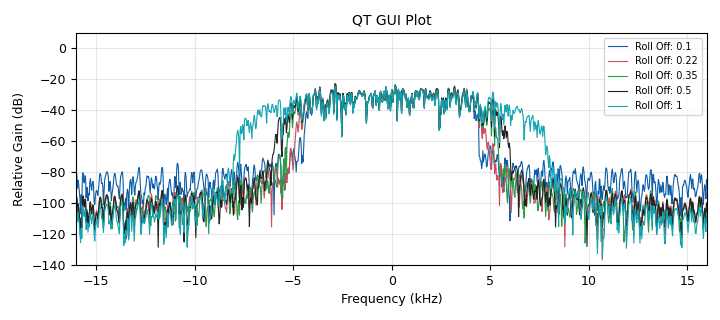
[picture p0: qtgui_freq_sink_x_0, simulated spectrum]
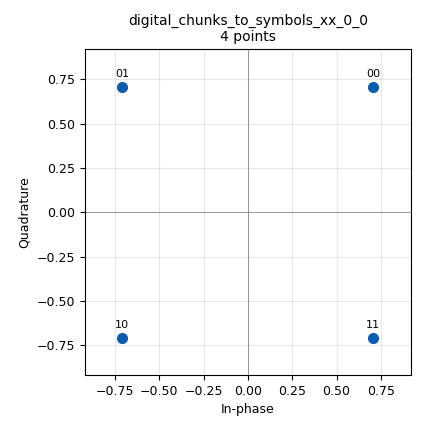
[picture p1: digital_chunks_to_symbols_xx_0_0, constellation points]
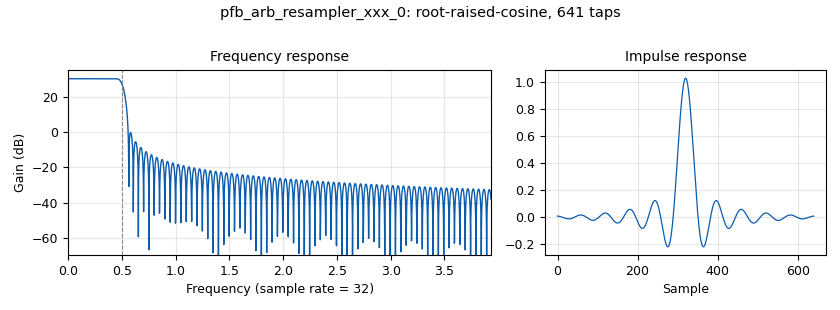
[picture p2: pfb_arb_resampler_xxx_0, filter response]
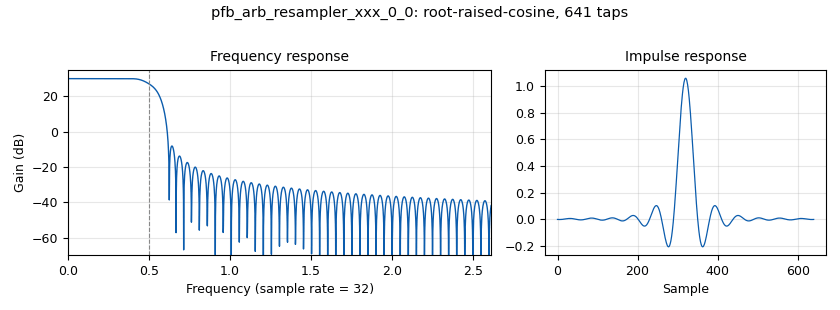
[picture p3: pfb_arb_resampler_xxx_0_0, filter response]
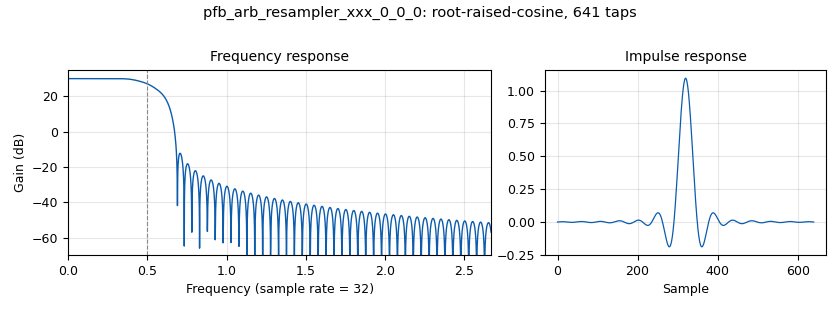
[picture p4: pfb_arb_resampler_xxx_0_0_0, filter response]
<?xml version='1.0' encoding='utf-8'?>
<?grc format='1' created='3.7.13'?>
<flow_graph>
<block>
<key>options</key>
<param><key>id</key><value>roll_off</value></param>
<param><key>author</key><value>Andre Silva</value></param>
<param><key>generate_options</key><value>qt_gui</value></param>
<param><key>title</key><value>roll_off _factor</value></param>
</block>
<block>
<key>variable</key>
<param><key>id</key><value>filt_delay</value></param>
<param><key>value</key><value>1+(taps_per_filt-1)/2</value></param>
</block>
<block>
<key>variable</key>
<param><key>id</key><value>nfilts</value></param>
<param><key>value</key><value>32</value></param>
</block>
<block>
<key>variable_constellation_rect</key>
<param><key>id</key><value>pld_const</value></param>
<param><key>const_points</key><value>[0.707+0.707j, -0.707+0.707j, -0.707-0.707j, 0.707-0.707j]</value></param>
<param><key>imag_sect</key><value>2</value></param>
<param><key>real_sect</key><value>2</value></param>
<param><key>rot_sym</key><value>4</value></param>
<param><key>soft_dec_lut</key><value>'auto'</value></param>
<param><key>sym_map</key><value>[0, 1, 2, 3]</value></param>
<param><key>w_imag_sect</key><value>1</value></param>
<param><key>w_real_sect</key><value>1</value></param>
</block>
<block>
<key>variable</key>
<param><key>id</key><value>samp_rate</value></param>
<param><key>value</key><value>32000</value></param>
</block>
<block>
<key>variable</key>
<param><key>id</key><value>sps</value></param>
<param><key>value</key><value>4</value></param>
</block>
<block>
<key>variable</key>
<param><key>id</key><value>taps_per_filt</value></param>
<param><key>value</key><value>len(tx_rrc_taps)/nfilts</value></param>
</block>
<block>
<key>variable_rrc_filter_taps</key>
<param><key>id</key><value>tx_rrc_taps</value></param>
<param><key>alpha</key><value>0.1</value></param>
<param><key>gain</key><value>nfilts</value></param>
<param><key>ntaps</key><value>5*sps*nfilts</value></param>
<param><key>samp_rate</key><value>nfilts</value></param>
<param><key>sym_rate</key><value>1.0</value></param>
</block>
<block>
<key>variable_rrc_filter_taps</key>
<param><key>id</key><value>tx_rrc_taps_0</value></param>
<param><key>alpha</key><value>0.22</value></param>
<param><key>gain</key><value>nfilts</value></param>
<param><key>ntaps</key><value>5*sps*nfilts</value></param>
<param><key>samp_rate</key><value>nfilts</value></param>
<param><key>sym_rate</key><value>1.0</value></param>
</block>
<block>
<key>variable_rrc_filter_taps</key>
<param><key>id</key><value>tx_rrc_taps_0_0</value></param>
<param><key>alpha</key><value>0.350</value></param>
<param><key>gain</key><value>nfilts</value></param>
<param><key>ntaps</key><value>5*sps*nfilts</value></param>
<param><key>samp_rate</key><value>nfilts</value></param>
<param><key>sym_rate</key><value>1.0</value></param>
</block>
<block>
<key>variable_rrc_filter_taps</key>
<param><key>id</key><value>tx_rrc_taps_0_0_0</value></param>
<param><key>alpha</key><value>0.500</value></param>
<param><key>gain</key><value>nfilts</value></param>
<param><key>ntaps</key><value>5*sps*nfilts</value></param>
<param><key>samp_rate</key><value>nfilts</value></param>
<param><key>sym_rate</key><value>1.0</value></param>
</block>
<block>
<key>variable_rrc_filter_taps</key>
<param><key>id</key><value>tx_rrc_taps_0_0_0_0</value></param>
<param><key>alpha</key><value>1</value></param>
<param><key>gain</key><value>nfilts</value></param>
<param><key>ntaps</key><value>5*sps*nfilts</value></param>
<param><key>samp_rate</key><value>nfilts</value></param>
<param><key>sym_rate</key><value>1.0</value></param>
</block>
<block>
<key>analog_random_source_x</key>
<param><key>id</key><value>analog_random_source_x_0</value></param>
<param><key>max</key><value>255</value></param>
<param><key>min</key><value>0</value></param>
<param><key>num_samps</key><value>1000</value></param>
<param><key>type</key><value>byte</value></param>
<param><key>repeat</key><value>True</value></param>
</block>
<block>
<key>blocks_repack_bits_bb</key>
<param><key>id</key><value>blocks_repack_bits_bb_1_0_0_1</value></param>
<param><key>k</key><value>8</value></param>
<param><key>l</key><value>pld_const.bits_per_symbol()</value></param>
<param><key>endianness</key><value>gr.GR_MSB_FIRST</value></param>
<param><key>len_tag_key</key><value></value></param>
</block>
<block>
<key>blocks_repack_bits_bb</key>
<param><key>id</key><value>blocks_repack_bits_bb_1_0_0_1_0</value></param>
<param><key>k</key><value>8</value></param>
<param><key>l</key><value>pld_const.bits_per_symbol()</value></param>
<param><key>endianness</key><value>gr.GR_MSB_FIRST</value></param>
<param><key>len_tag_key</key><value></value></param>
</block>
<block>
<key>blocks_repack_bits_bb</key>
<param><key>id</key><value>blocks_repack_bits_bb_1_0_0_1_0_0</value></param>
<param><key>k</key><value>8</value></param>
<param><key>l</key><value>pld_const.bits_per_symbol()</value></param>
<param><key>endianness</key><value>gr.GR_MSB_FIRST</value></param>
<param><key>len_tag_key</key><value></value></param>
</block>
<block>
<key>blocks_repack_bits_bb</key>
<param><key>id</key><value>blocks_repack_bits_bb_1_0_0_1_0_0_0</value></param>
<param><key>k</key><value>8</value></param>
<param><key>l</key><value>pld_const.bits_per_symbol()</value></param>
<param><key>endianness</key><value>gr.GR_MSB_FIRST</value></param>
<param><key>len_tag_key</key><value></value></param>
</block>
<block>
<key>blocks_repack_bits_bb</key>
<param><key>id</key><value>blocks_repack_bits_bb_1_0_0_1_0_0_0_0</value></param>
<param><key>k</key><value>8</value></param>
<param><key>l</key><value>pld_const.bits_per_symbol()</value></param>
<param><key>endianness</key><value>gr.GR_MSB_FIRST</value></param>
<param><key>len_tag_key</key><value></value></param>
</block>
<block>
<key>blocks_throttle</key>
<param><key>id</key><value>blocks_throttle_0</value></param>
<param><key>samples_per_second</key><value>samp_rate</value></param>
<param><key>type</key><value>complex</value></param>
</block>
<block>
<key>blocks_throttle</key>
<param><key>id</key><value>blocks_throttle_0_0</value></param>
<param><key>samples_per_second</key><value>samp_rate</value></param>
<param><key>type</key><value>complex</value></param>
</block>
<block>
<key>blocks_throttle</key>
<param><key>id</key><value>blocks_throttle_0_0_0</value></param>
<param><key>samples_per_second</key><value>samp_rate</value></param>
<param><key>type</key><value>complex</value></param>
</block>
<block>
<key>blocks_throttle</key>
<param><key>id</key><value>blocks_throttle_0_0_0_0</value></param>
<param><key>samples_per_second</key><value>samp_rate</value></param>
<param><key>type</key><value>complex</value></param>
</block>
<block>
<key>blocks_throttle</key>
<param><key>id</key><value>blocks_throttle_0_0_0_0_0</value></param>
<param><key>samples_per_second</key><value>samp_rate</value></param>
<param><key>type</key><value>complex</value></param>
</block>
<block>
<key>digital_chunks_to_symbols_xx</key>
<param><key>id</key><value>digital_chunks_to_symbols_xx_0_0</value></param>
<param><key>dimension</key><value>1</value></param>
<param><key>in_type</key><value>byte</value></param>
<param><key>out_type</key><value>complex</value></param>
<param><key>symbol_table</key><value>pld_const.points()</value></param>
</block>
<block>
<key>digital_chunks_to_symbols_xx</key>
<param><key>id</key><value>digital_chunks_to_symbols_xx_0_0_0</value></param>
<param><key>dimension</key><value>1</value></param>
<param><key>in_type</key><value>byte</value></param>
<param><key>out_type</key><value>complex</value></param>
<param><key>symbol_table</key><value>pld_const.points()</value></param>
</block>
<block>
<key>digital_chunks_to_symbols_xx</key>
<param><key>id</key><value>digital_chunks_to_symbols_xx_0_0_0_0</value></param>
<param><key>dimension</key><value>1</value></param>
<param><key>in_type</key><value>byte</value></param>
<param><key>out_type</key><value>complex</value></param>
<param><key>symbol_table</key><value>pld_const.points()</value></param>
</block>
<block>
<key>digital_chunks_to_symbols_xx</key>
<param><key>id</key><value>digital_chunks_to_symbols_xx_0_0_0_0_0</value></param>
<param><key>dimension</key><value>1</value></param>
<param><key>in_type</key><value>byte</value></param>
<param><key>out_type</key><value>complex</value></param>
<param><key>symbol_table</key><value>pld_const.points()</value></param>
</block>
<block>
<key>digital_chunks_to_symbols_xx</key>
<param><key>id</key><value>digital_chunks_to_symbols_xx_0_0_0_0_0_0</value></param>
<param><key>dimension</key><value>1</value></param>
<param><key>in_type</key><value>byte</value></param>
<param><key>out_type</key><value>complex</value></param>
<param><key>symbol_table</key><value>pld_const.points()</value></param>
</block>
<block>
<key>digital_map_bb</key>
<param><key>id</key><value>digital_map_bb_0</value></param>
<param><key>map</key><value>pld_const.pre_diff_code()</value></param>
</block>
<block>
<key>digital_map_bb</key>
<param><key>id</key><value>digital_map_bb_0_0</value></param>
<param><key>map</key><value>pld_const.pre_diff_code()</value></param>
</block>
<block>
<key>digital_map_bb</key>
<param><key>id</key><value>digital_map_bb_0_0_0</value></param>
<param><key>map</key><value>pld_const.pre_diff_code()</value></param>
</block>
<block>
<key>digital_map_bb</key>
<param><key>id</key><value>digital_map_bb_0_0_0_0</value></param>
<param><key>map</key><value>pld_const.pre_diff_code()</value></param>
</block>
<block>
<key>digital_map_bb</key>
<param><key>id</key><value>digital_map_bb_0_0_0_0_0</value></param>
<param><key>map</key><value>pld_const.pre_diff_code()</value></param>
</block>
<block>
<key>pfb_arb_resampler_xxx</key>
<param><key>id</key><value>pfb_arb_resampler_xxx_0</value></param>
<param><key>nfilts</key><value>nfilts</value></param>
<param><key>rrate</key><value>sps</value></param>
<param><key>samp_delay</key><value>filt_delay</value></param>
<param><key>atten</key><value>100</value></param>
<param><key>taps</key><value>tx_rrc_taps</value></param>
<param><key>type</key><value>ccf</value></param>
</block>
<block>
<key>pfb_arb_resampler_xxx</key>
<param><key>id</key><value>pfb_arb_resampler_xxx_0_0</value></param>
<param><key>nfilts</key><value>nfilts</value></param>
<param><key>rrate</key><value>sps</value></param>
<param><key>samp_delay</key><value>filt_delay</value></param>
<param><key>atten</key><value>100</value></param>
<param><key>taps</key><value>tx_rrc_taps_0</value></param>
<param><key>type</key><value>ccf</value></param>
</block>
<block>
<key>pfb_arb_resampler_xxx</key>
<param><key>id</key><value>pfb_arb_resampler_xxx_0_0_0</value></param>
<param><key>nfilts</key><value>nfilts</value></param>
<param><key>rrate</key><value>sps</value></param>
<param><key>samp_delay</key><value>filt_delay</value></param>
<param><key>atten</key><value>100</value></param>
<param><key>taps</key><value>tx_rrc_taps_0_0</value></param>
<param><key>type</key><value>ccf</value></param>
</block>
<block>
<key>pfb_arb_resampler_xxx</key>
<param><key>id</key><value>pfb_arb_resampler_xxx_0_0_0_0</value></param>
<param><key>nfilts</key><value>nfilts</value></param>
<param><key>rrate</key><value>sps</value></param>
<param><key>samp_delay</key><value>filt_delay</value></param>
<param><key>atten</key><value>100</value></param>
<param><key>taps</key><value>tx_rrc_taps_0_0_0</value></param>
<param><key>type</key><value>ccf</value></param>
</block>
<block>
<key>pfb_arb_resampler_xxx</key>
<param><key>id</key><value>pfb_arb_resampler_xxx_0_0_0_0_0</value></param>
<param><key>nfilts</key><value>nfilts</value></param>
<param><key>rrate</key><value>sps</value></param>
<param><key>samp_delay</key><value>filt_delay</value></param>
<param><key>atten</key><value>100</value></param>
<param><key>taps</key><value>tx_rrc_taps_0_0_0_0</value></param>
<param><key>type</key><value>ccf</value></param>
</block>
<block>
<key>qtgui_freq_sink_x</key>
<param><key>id</key><value>qtgui_freq_sink_x_0</value></param>
<param><key>bw</key><value>samp_rate</value></param>
<param><key>fc</key><value>0</value></param>
<param><key>fftsize</key><value>1024</value></param>
<param><key>gui_hint</key><value>1,0,1,2</value></param>
<param><key>label1</key><value>Roll Off: 0.1</value></param>
<param><key>label2</key><value>Roll Off: 0.22</value></param>
<param><key>label3</key><value>Roll Off: 0.35</value></param>
<param><key>label4</key><value>Roll Off: 0.5</value></param>
<param><key>label5</key><value>Roll Off: 1</value></param>
<param><key>name</key><value>QT GUI Plot</value></param>
<param><key>nconnections</key><value>5</value></param>
<param><key>showports</key><value>True</value></param>
<param><key>type</key><value>complex</value></param>
<param><key>wintype</key><value>firdes.WIN_BLACKMAN_hARRIS</value></param>
</block>
<connection><source_block_id>analog_random_source_x_0</source_block_id><sink_block_id>blocks_repack_bits_bb_1_0_0_1</sink_block_id><source_key>0</source_key><sink_key>0</sink_key></connection>
<connection><source_block_id>analog_random_source_x_0</source_block_id><sink_block_id>blocks_repack_bits_bb_1_0_0_1_0</sink_block_id><source_key>0</source_key><sink_key>0</sink_key></connection>
<connection><source_block_id>analog_random_source_x_0</source_block_id><sink_block_id>blocks_repack_bits_bb_1_0_0_1_0_0</sink_block_id><source_key>0</source_key><sink_key>0</sink_key></connection>
<connection><source_block_id>analog_random_source_x_0</source_block_id><sink_block_id>blocks_repack_bits_bb_1_0_0_1_0_0_0</sink_block_id><source_key>0</source_key><sink_key>0</sink_key></connection>
<connection><source_block_id>analog_random_source_x_0</source_block_id><sink_block_id>blocks_repack_bits_bb_1_0_0_1_0_0_0_0</sink_block_id><source_key>0</source_key><sink_key>0</sink_key></connection>
<connection><source_block_id>blocks_repack_bits_bb_1_0_0_1</source_block_id><sink_block_id>digital_map_bb_0</sink_block_id><source_key>0</source_key><sink_key>0</sink_key></connection>
<connection><source_block_id>blocks_repack_bits_bb_1_0_0_1_0</source_block_id><sink_block_id>digital_map_bb_0_0</sink_block_id><source_key>0</source_key><sink_key>0</sink_key></connection>
<connection><source_block_id>blocks_repack_bits_bb_1_0_0_1_0_0</source_block_id><sink_block_id>digital_map_bb_0_0_0</sink_block_id><source_key>0</source_key><sink_key>0</sink_key></connection>
<connection><source_block_id>blocks_repack_bits_bb_1_0_0_1_0_0_0</source_block_id><sink_block_id>digital_map_bb_0_0_0_0</sink_block_id><source_key>0</source_key><sink_key>0</sink_key></connection>
<connection><source_block_id>blocks_repack_bits_bb_1_0_0_1_0_0_0_0</source_block_id><sink_block_id>digital_map_bb_0_0_0_0_0</sink_block_id><source_key>0</source_key><sink_key>0</sink_key></connection>
<connection><source_block_id>blocks_throttle_0</source_block_id><sink_block_id>qtgui_freq_sink_x_0</sink_block_id><source_key>0</source_key><sink_key>0</sink_key></connection>
<connection><source_block_id>blocks_throttle_0_0</source_block_id><sink_block_id>qtgui_freq_sink_x_0</sink_block_id><source_key>0</source_key><sink_key>1</sink_key></connection>
<connection><source_block_id>blocks_throttle_0_0_0</source_block_id><sink_block_id>qtgui_freq_sink_x_0</sink_block_id><source_key>0</source_key><sink_key>2</sink_key></connection>
<connection><source_block_id>blocks_throttle_0_0_0_0</source_block_id><sink_block_id>qtgui_freq_sink_x_0</sink_block_id><source_key>0</source_key><sink_key>3</sink_key></connection>
<connection><source_block_id>blocks_throttle_0_0_0_0_0</source_block_id><sink_block_id>qtgui_freq_sink_x_0</sink_block_id><source_key>0</source_key><sink_key>4</sink_key></connection>
<connection><source_block_id>digital_chunks_to_symbols_xx_0_0</source_block_id><sink_block_id>pfb_arb_resampler_xxx_0</sink_block_id><source_key>0</source_key><sink_key>0</sink_key></connection>
<connection><source_block_id>digital_chunks_to_symbols_xx_0_0_0</source_block_id><sink_block_id>pfb_arb_resampler_xxx_0_0</sink_block_id><source_key>0</source_key><sink_key>0</sink_key></connection>
<connection><source_block_id>digital_chunks_to_symbols_xx_0_0_0_0</source_block_id><sink_block_id>pfb_arb_resampler_xxx_0_0_0</sink_block_id><source_key>0</source_key><sink_key>0</sink_key></connection>
<connection><source_block_id>digital_chunks_to_symbols_xx_0_0_0_0_0</source_block_id><sink_block_id>pfb_arb_resampler_xxx_0_0_0_0</sink_block_id><source_key>0</source_key><sink_key>0</sink_key></connection>
<connection><source_block_id>digital_chunks_to_symbols_xx_0_0_0_0_0_0</source_block_id><sink_block_id>pfb_arb_resampler_xxx_0_0_0_0_0</sink_block_id><source_key>0</source_key><sink_key>0</sink_key></connection>
<connection><source_block_id>digital_map_bb_0</source_block_id><sink_block_id>digital_chunks_to_symbols_xx_0_0</sink_block_id><source_key>0</source_key><sink_key>0</sink_key></connection>
<connection><source_block_id>digital_map_bb_0_0</source_block_id><sink_block_id>digital_chunks_to_symbols_xx_0_0_0</sink_block_id><source_key>0</source_key><sink_key>0</sink_key></connection>
<connection><source_block_id>digital_map_bb_0_0_0</source_block_id><sink_block_id>digital_chunks_to_symbols_xx_0_0_0_0</sink_block_id><source_key>0</source_key><sink_key>0</sink_key></connection>
<connection><source_block_id>digital_map_bb_0_0_0_0</source_block_id><sink_block_id>digital_chunks_to_symbols_xx_0_0_0_0_0</sink_block_id><source_key>0</source_key><sink_key>0</sink_key></connection>
<connection><source_block_id>digital_map_bb_0_0_0_0_0</source_block_id><sink_block_id>digital_chunks_to_symbols_xx_0_0_0_0_0_0</sink_block_id><source_key>0</source_key><sink_key>0</sink_key></connection>
<connection><source_block_id>pfb_arb_resampler_xxx_0</source_block_id><sink_block_id>blocks_throttle_0</sink_block_id><source_key>0</source_key><sink_key>0</sink_key></connection>
<connection><source_block_id>pfb_arb_resampler_xxx_0_0</source_block_id><sink_block_id>blocks_throttle_0_0</sink_block_id><source_key>0</source_key><sink_key>0</sink_key></connection>
<connection><source_block_id>pfb_arb_resampler_xxx_0_0_0</source_block_id><sink_block_id>blocks_throttle_0_0_0</sink_block_id><source_key>0</source_key><sink_key>0</sink_key></connection>
<connection><source_block_id>pfb_arb_resampler_xxx_0_0_0_0</source_block_id><sink_block_id>blocks_throttle_0_0_0_0</sink_block_id><source_key>0</source_key><sink_key>0</sink_key></connection>
<connection><source_block_id>pfb_arb_resampler_xxx_0_0_0_0_0</source_block_id><sink_block_id>blocks_throttle_0_0_0_0_0</sink_block_id><source_key>0</source_key><sink_key>0</sink_key></connection>
</flow_graph>
